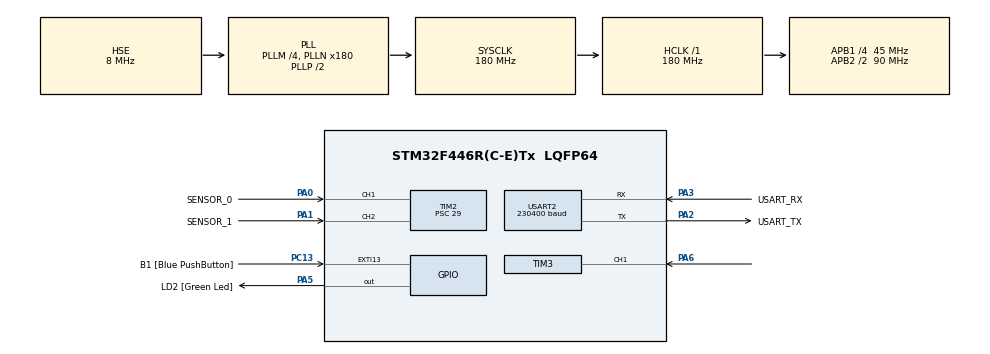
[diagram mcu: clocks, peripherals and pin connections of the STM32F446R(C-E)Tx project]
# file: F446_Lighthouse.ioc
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IWDG.Prescaler=IWDG_PRESCALER_32
IWDG.Reload=1000
Mcu.Family=STM32F4
Mcu.Name=STM32F446R(C-E)Tx
Mcu.Package=LQFP64
NVIC.PriorityGroup=NVIC_PRIORITYGROUP_4
NVIC.TIM2_IRQn=true\:5\:0\:true\:false\:false\:true
NVIC.TIM3_IRQn=true\:6\:0\:true\:false\:false\:true
NVIC.USART2_IRQn=true\:15\:0\:true\:false\:false\:true
PA0-WKUP.GPIO_Label=SENSOR_0
PA0-WKUP.GPIO_PuPd=GPIO_PULLUP
PA0-WKUP.GPIO_Speed=GPIO_SPEED_FREQ_VERY_HIGH
PA0-WKUP.Signal=S_TIM2_CH1_ETR
PA1.GPIO_Label=SENSOR_1
PA1.GPIO_PuPd=GPIO_PULLUP
PA1.GPIO_Speed=GPIO_SPEED_FREQ_VERY_HIGH
PA1.Signal=S_TIM2_CH2
PA13.GPIO_Label=TMS
PA13.Mode=Trace_Asynchronous_SW
PA13.Signal=SYS_JTMS-SWDIO
PA14.GPIO_Label=TCK
PA14.Mode=Trace_Asynchronous_SW
PA14.Signal=SYS_JTCK-SWCLK
PA2.GPIO_Label=USART_TX
PA2.Mode=Asynchronous
PA2.Signal=USART2_TX
PA3.GPIO_Label=USART_RX
PA3.Mode=Asynchronous
PA3.Signal=USART2_RX
PA5.GPIO_Label=LD2 [Green Led]
PA5.Signal=GPIO_Output
PA6.GPIO_PuPd=GPIO_PULLUP
PA6.GPIO_Speed=GPIO_SPEED_FREQ_VERY_HIGH
PA6.Signal=S_TIM3_CH1
PB3.GPIO_Label=SWO
PB3.Mode=Trace_Asynchronous_SW
PB3.Signal=SYS_JTDO-SWO
PC13.GPIO_Label=B1 [Blue PushButton]
PC13.GPIO_ModeDefaultEXTI=GPIO_MODE_IT_FALLING
PC13.Signal=GPXTI13
PC14-OSC32_IN.Mode=LSE-External-Oscillator
PC14-OSC32_IN.Signal=RCC_OSC32_IN
PC15-OSC32_OUT.Mode=LSE-External-Oscillator
PC15-OSC32_OUT.Signal=RCC_OSC32_OUT
PH0-OSC_IN.Mode=HSE-External-Clock-Source
PH0-OSC_IN.Signal=RCC_OSC_IN
PH1-OSC_OUT.Mode=HSE-External-Clock-Source
PH1-OSC_OUT.Signal=RCC_OSC_OUT
ProjectManager.HeapSize=0x200
ProjectManager.StackSize=0x400
ProjectManager.TargetToolchain=TrueSTUDIO
RCC.48MHZClocksFreq_Value=84000000
RCC.AHBFreq_Value=180000000
RCC.APB1CLKDivider=RCC_HCLK_DIV4
RCC.APB1Freq_Value=45000000
RCC.APB1TimFreq_Value=90000000
RCC.APB2CLKDivider=RCC_HCLK_DIV2
RCC.APB2Freq_Value=90000000
RCC.APB2TimFreq_Value=180000000
RCC.CortexFreq_Value=180000000
RCC.FLatency-AdvancedSettings=FLASH_LATENCY_5
RCC.HCLKFreq_Value=180000000
RCC.HSE_VALUE=8000000
RCC.HSI_VALUE=16000000
RCC.PLLM=4
RCC.PLLN=180
RCC.PLLSourceVirtual=RCC_PLLSOURCE_HSE
RCC.SYSCLKFreq_VALUE=180000000
RCC.SYSCLKSource=RCC_SYSCLKSOURCE_PLLCLK
RCC.USBFreq_Value=180000000
RCC.VCOOutputFreq_Value=360000000
SH.S_TIM2_CH1_ETR.0=TIM2_CH1,Input_Capture1_from_TI1
SH.S_TIM2_CH2.0=TIM2_CH2,Input_Capture2_from_TI2
SH.S_TIM3_CH1.0=TIM3_CH1,Input_Capture1_from_TI1
TIM2.Channel-Input_Capture1_from_TI1=TIM_CHANNEL_1
TIM2.Channel-Input_Capture2_from_TI2=TIM_CHANNEL_2
TIM2.ICFilter_CH1=15
TIM2.ICFilter_CH2=15
TIM2.ICPolarity_CH1=TIM_INPUTCHANNELPOLARITY_BOTHEDGE
TIM2.ICPolarity_CH2=TIM_INPUTCHANNELPOLARITY_BOTHEDGE
TIM2.Period=0xFFFF
TIM2.Prescaler=29
TIM3.Channel-Input_Capture1_from_TI1=TIM_CHANNEL_1
TIM3.ICFilter_CH1=15
TIM3.ICPolarity_CH1=TIM_INPUTCHANNELPOLARITY_BOTHEDGE
TIM3.Period=0xffff
TIM3.Prescaler=29
USART2.BaudRate=230400
USART2.VirtualMode=VM_ASYNC
VP_IWDG_VS_IWDG.Mode=IWDG_Activate
VP_TIM2_VS_ClockSourceINT.Mode=Internal
VP_TIM3_VS_ClockSourceINT.Mode=Internal
board=NUCLEO-F446RE

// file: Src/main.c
/**
 ******************************************************************************
 * @file           : main.c
 * @brief          : Main program body
 ******************************************************************************
 ** This notice applies to any and all portions of this file
 * that are not between comment pairs USER CODE BEGIN and
 * USER CODE END. Other portions of this file, whether
 * inserted by the user or by software development tools
 * are owned by their respective copyright owners.
 *
 * COPYRIGHT(c) 2019 STMicroelectronics
 *
 * Redistribution and use in source and binary forms, with or without modification,
 * are permitted provided that the following conditions are met:
 *   1. Redistributions of source code must retain the above copyright notice,
 *      this list of conditions and the following disclaimer.
 *   2. Redistributions in binary form must reproduce the above copyright notice,
 *      this list of conditions and the following disclaimer in the documentation
 *      and/or other materials provided with the distribution.
 *   3. Neither the name of STMicroelectronics nor the names of its contributors
 *      may be used to endorse or promote products derived from this software
 *      without specific prior written permission.
 *
 * THIS SOFTWARE IS PROVIDED BY THE COPYRIGHT HOLDERS AND CONTRIBUTORS "AS IS"
 * AND ANY EXPRESS OR IMPLIED WARRANTIES, INCLUDING, BUT NOT LIMITED TO, THE
 * IMPLIED WARRANTIES OF MERCHANTABILITY AND FITNESS FOR A PARTICULAR PURPOSE ARE
 * DISCLAIMED. IN NO EVENT SHALL THE COPYRIGHT HOLDER OR CONTRIBUTORS BE LIABLE
 * FOR ANY DIRECT, INDIRECT, INCIDENTAL, SPECIAL, EXEMPLARY, OR CONSEQUENTIAL
 * DAMAGES (INCLUDING, BUT NOT LIMITED TO, PROCUREMENT OF SUBSTITUTE GOODS OR
 * SERVICES; LOSS OF USE, DATA, OR PROFITS; OR BUSINESS INTERRUPTION) HOWEVER
 * CAUSED AND ON ANY THEORY OF LIABILITY, WHETHER IN CONTRACT, STRICT LIABILITY,
 * OR TORT (INCLUDING NEGLIGENCE OR OTHERWISE) ARISING IN ANY WAY OUT OF THE USE
 * OF THIS SOFTWARE, EVEN IF ADVISED OF THE POSSIBILITY OF SUCH DAMAGE.
 *
 ******************************************************************************
 */
#include "main.h"
#include "stm32f4xx_hal.h"

/* USER CODE BEGIN Includes */
#include <string.h>
#include <stdbool.h>
#include <math.h>
#include "stm_hal_serial.h"
/* USER CODE END Includes */

IWDG_HandleTypeDef hiwdg;

TIM_HandleTypeDef htim2;
TIM_HandleTypeDef htim3;

UART_HandleTypeDef huart2;

/* USER CODE BEGIN PV */
/* Private variables ---------------------------------------------------------*/
/* TODO Global Variables*/
#define DEBUG				1
#if DEBUG

#define UART_BUFSIZE	RING_BUFFER_SIZE
Ring_Buffer_t tx2Buffer = { { 0 }, 0, 0 };
Ring_Buffer_t rx2Buffer = { { 0 }, 0, 0 };
TSerial debug = { &rx2Buffer, &tx2Buffer, &huart2 };
char buf[UART_BUFSIZE];
uint16_t bufLen;
char vt100_home[10];
#define DEBUG_LINE_MAX		25
char vt100_lineX[DEBUG_LINE_MAX][16];

#endif	//if DEBUG

#define bitRead(value, bit) (((value) >> (bit)) & 0x01)
#define bitSet(value, bit) ((value) |= (1UL << (bit)))
#define bitClear(value, bit) ((value) &= ~(1UL << (bit)))
#define bitWrite(value, bit, bitvalue) (bitvalue ? bitSet(value, bit) : bitClear(value, bit))

const uint16_t pulse_data_max = 165;
const uint16_t pulse_midpoints[8] = { 187, 219, 250, 281, 312, 345, 375, 405 };
const uint16_t pulse_margin = 12;
//const uint16_t pulse_data_max = 55;
//const uint16_t pulse_midpoints[8] = { 62, 73, 83, 94, 104, 115, 125, 135 };
//const uint16_t pulse_margin = 4;

#define PULSE_BUFSIZE			100

typedef enum
{
	PULSE_RISE = 0,
	PULSE_FALL = 1
} PulseType;

typedef struct
{
	volatile uint16_t timestamp[PULSE_BUFSIZE];
	volatile uint16_t head;
	volatile uint16_t tail;
} Pulse_Buffer_t;

#define ST_SWEEP_START_BIT			0
#define ST_SWEEP_SKIP_SYNC_BIT		1
#define ST_SWEEP_NSKIP_SYNC_BIT		2
#define ST_SWEEP_GOT_DATA_BIT		3

typedef struct
{
	uint8_t instance;
	uint8_t id_tem;
	Pulse_Buffer_t pulse;
	float angles[4];
	uint8_t state;
	uint16_t startNskipPulse;
	uint16_t startDataPulse;
} Sensor_t;
Sensor_t sensorL[4];

#define OOTX_BUFSIZE		256

typedef struct
{
	uint8_t waiting_for_preamble;
	uint8_t waiting_for_length;
	uint32_t accumulator;
	uint16_t accumulator_bits;
	uint16_t rx_bytes;
	uint16_t padding;
} Lighthouse_OOTX_Private_t;

typedef struct
{
	uint8_t completed;
	uint16_t length;
	uint8_t bytes[OOTX_BUFSIZE];
	Lighthouse_OOTX_Private_t private;
} Lighthouse_OOTX_t;
Lighthouse_OOTX_t ootx[4];

uint32_t ootx_reset_counter = 0;
uint32_t ootx_error_counter = 0;
uint32_t ootx_preamble_counter = 0;
uint32_t ootx_add_word_counter = 0;
uint32_t pulse_invalid_counter = 0;

/* USER CODE END PV */

void SystemClock_Config(void);
static void MX_GPIO_Init(void);
static void MX_USART2_UART_Init(void);
static void MX_TIM2_Init(void);
static void MX_IWDG_Init(void);
static void MX_TIM3_Init(void);

/* USER CODE BEGIN PFP */
/* Private function prototypes -----------------------------------------------*/
/* TODO Function Prototypes*/
static uint16_t findPulseLength(uint16_t start, uint16_t end);
//static float findAngle(uint16_t nskip, uint16_t start, uint16_t end);
static bool findAngle(uint16_t nskip, uint16_t start, uint16_t end, float *angle);
static void sensor_init();
static void sensorProcessing(Sensor_t *sensor);
static void sensorHandler();

static void pulse_init(Pulse_Buffer_t *buffer);
static void pulse_write_rise(Pulse_Buffer_t *buffer, uint16_t time);
static void pulse_write_fall(Pulse_Buffer_t *buffer, uint16_t time);
static bool pulse_buffer_available(Pulse_Buffer_t *buffer);
static bool pulse_read(Pulse_Buffer_t *buffer, uint16_t *rise, uint16_t *fall);

static void ootx_init(Lighthouse_OOTX_t *ootx);
static void ootx_reset(Lighthouse_OOTX_Private_t *ootxPrivate);
static void ootx_add_bit(Lighthouse_OOTX_t *ootx, uint8_t bit);
static void ootx_add_word(Lighthouse_OOTX_t *ootx, uint16_t word);

/* USER CODE END PFP */

int main(void)
{
	/* USER CODE BEGIN 1 */
	sprintf(vt100_home, "\x1b[2J\x1b[H");
	unsigned char debugLine = 0;
	for ( debugLine = 0; debugLine < DEBUG_LINE_MAX; debugLine++ )
		sprintf(vt100_lineX[debugLine], "\x1b[%d;0H\x1b[2K", debugLine);

	/* USER CODE END 1 */

	/* MCU Configuration----------------------------------------------------------*/

	/* Reset of all peripherals, Initializes the Flash interface and the Systick. */
	HAL_Init();

	/* Configure the system clock */
	SystemClock_Config();

	/* Initialize all configured peripherals */
	MX_GPIO_Init();
	MX_USART2_UART_Init();
	MX_TIM2_Init();
	MX_IWDG_Init();
	MX_TIM3_Init();
	/* USER CODE BEGIN 2 */
	/* TODO Initialization*/
	HAL_IWDG_Init(&hiwdg);
	HAL_IWDG_Refresh(&hiwdg);

	bufLen = sprintf(buf, "%sF446 Lighthouse Firmware!\r\n=========================\r\n",
			vt100_home);
	serial_write_str(&debug, buf, bufLen);

	serial_init(&debug);
	HAL_Delay(500);
	HAL_IWDG_Refresh(&hiwdg);
	HAL_GPIO_WritePin(LD2_GPIO_Port, LD2_Pin, GPIO_PIN_SET);

	serial_init(&debug);

	sensor_init();
	ootx_reset_counter = 0;
	HAL_TIM_IC_Start_IT(&htim2, TIM_CHANNEL_1);
	HAL_TIM_IC_Start_IT(&htim3, TIM_CHANNEL_1);

	/* USER CODE END 2 */

	/* Infinite loop */
	/* USER CODE BEGIN WHILE */
	/* TODO Loop Variables*/

	uint32_t millis = 0;
	uint32_t timer = 0;
	uint32_t displayTimer = 0;

	uint16_t ootxCounter = 0;

	while (1) {
		float s[4][4];
		uint8_t i, j;

		millis = HAL_GetTick();
		HAL_IWDG_Refresh(&hiwdg);

		/* USER CODE END WHILE */

		/* USER CODE BEGIN 3 */
		/* TODO Begin LOOP*/
		if (millis >= timer) {
			timer = millis + 1000;

			if (HAL_GPIO_ReadPin(LD2_GPIO_Port, LD2_Pin) == GPIO_PIN_RESET)
				HAL_GPIO_WritePin(LD2_GPIO_Port, LD2_Pin, GPIO_PIN_SET);
			else
				HAL_GPIO_WritePin(LD2_GPIO_Port, LD2_Pin, GPIO_PIN_RESET);
		}

		sensorHandler();
		if (millis >= displayTimer) {
			displayTimer = millis + 100;

			for ( i = 0; i < 4; i++ ) {
				for ( j = 0; j < 4; j++ )
					s[i][j] = sensorL[i].angles[j];
			}

			bufLen = sprintf(buf, "%slivetime= %d", vt100_lineX[3], (int) (millis / 1000));
			serial_write_str(&debug, buf, bufLen);

			bufLen = sprintf(buf, "%ssensor0:%s%.3f\t%.3f\t%.3f\t%.3f", vt100_lineX[5],
					vt100_lineX[6], s[0][0], s[0][1], s[0][2], s[0][3]);
			serial_write_str(&debug, buf, bufLen);
			bufLen = sprintf(buf, "%ssensor1:%s%.3f\t%.3f\t%.3f\t%.3f", vt100_lineX[7],
					vt100_lineX[8], s[1][0], s[1][1], s[1][2], s[1][3]);
			serial_write_str(&debug, buf, bufLen);
//			bufLen = sprintf(buf, "%ssensor2:%s%.3f\t%.3f\t%.3f\t%.3f", vt100_lineX[9],
//					vt100_lineX[10], s[2][0], s[2][1], s[2][2], s[2][3]);
//			serial_write_str(&debug, buf, bufLen);
//			bufLen = sprintf(buf, "%ssensor3:%s%.3f\t%.3f\t%.3f\t%.3f", vt100_lineX[11],
//					vt100_lineX[12], s[3][0], s[3][1], s[3][2], s[3][3]);
//			serial_write_str(&debug, buf, bufLen);

			bufLen = sprintf(buf, "%sDebug:%spulseInvalid= %d\tpreamble= %d | %d | %d",
					vt100_lineX[15], vt100_lineX[16], (int) pulse_invalid_counter,
					(int) ootx_preamble_counter, (int) ootx_reset_counter,
					(int) ootx_add_word_counter);
			serial_write_str(&debug, buf, bufLen);
			bufLen = sprintf(buf, "%s%d\t%X", vt100_lineX[17],
					(int) ootx[1].private.accumulator_bits, (int) ootx[1].private.accumulator);
			serial_write_str(&debug, buf, bufLen);

			bufLen = sprintf(buf, "%s", vt100_lineX[22]);
			serial_write_str(&debug, buf, bufLen);

			for ( int i = 0; i < 38; i++ ) {
				if (i % 16 == 15)
					bufLen = sprintf(buf, "%02X-%02X\r\n", i, ootx[1].bytes[i]);
				else
					bufLen = sprintf(buf, "%02X-%02X ", i, ootx[1].bytes[i]);
				serial_write_str(&debug, buf, bufLen);
			}

		}

		if (ootx[1].completed > 0) {
			bufLen = sprintf(buf, "%sootx counter= %d", vt100_lineX[18], ootxCounter++);
			serial_write_str(&debug, buf, bufLen);

			ootx[1].completed = 0;
		}
		/* TODO END LOOP*/
	}
	/* USER CODE END 3 */

}

void SystemClock_Config(void)
{

	RCC_OscInitTypeDef RCC_OscInitStruct;
	RCC_ClkInitTypeDef RCC_ClkInitStruct;

	/**Configure the main internal regulator output voltage
	 */
	__HAL_RCC_PWR_CLK_ENABLE()
	;

	__HAL_PWR_VOLTAGESCALING_CONFIG(PWR_REGULATOR_VOLTAGE_SCALE1);

	/**Initializes the CPU, AHB and APB busses clocks
	 */
	RCC_OscInitStruct.OscillatorType = RCC_OSCILLATORTYPE_LSI | RCC_OSCILLATORTYPE_HSE;
	RCC_OscInitStruct.HSEState = RCC_HSE_BYPASS;
	RCC_OscInitStruct.LSIState = RCC_LSI_ON;
	RCC_OscInitStruct.PLL.PLLState = RCC_PLL_ON;
	RCC_OscInitStruct.PLL.PLLSource = RCC_PLLSOURCE_HSE;
	RCC_OscInitStruct.PLL.PLLM = 4;
	RCC_OscInitStruct.PLL.PLLN = 180;
	RCC_OscInitStruct.PLL.PLLP = RCC_PLLP_DIV2;
	RCC_OscInitStruct.PLL.PLLQ = 2;
	RCC_OscInitStruct.PLL.PLLR = 2;
	if (HAL_RCC_OscConfig(&RCC_OscInitStruct) != HAL_OK) {
		_Error_Handler(__FILE__, __LINE__);
	}

	/**Activate the Over-Drive mode
	 */
	if (HAL_PWREx_EnableOverDrive() != HAL_OK) {
		_Error_Handler(__FILE__, __LINE__);
	}

	/**Initializes the CPU, AHB and APB busses clocks
	 */
	RCC_ClkInitStruct.ClockType = RCC_CLOCKTYPE_HCLK | RCC_CLOCKTYPE_SYSCLK | RCC_CLOCKTYPE_PCLK1
			| RCC_CLOCKTYPE_PCLK2;
	RCC_ClkInitStruct.SYSCLKSource = RCC_SYSCLKSOURCE_PLLCLK;
	RCC_ClkInitStruct.AHBCLKDivider = RCC_SYSCLK_DIV1;
	RCC_ClkInitStruct.APB1CLKDivider = RCC_HCLK_DIV4;
	RCC_ClkInitStruct.APB2CLKDivider = RCC_HCLK_DIV2;

	if (HAL_RCC_ClockConfig(&RCC_ClkInitStruct, FLASH_LATENCY_5) != HAL_OK) {
		_Error_Handler(__FILE__, __LINE__);
	}

	/**Configure the Systick interrupt time
	 */
	HAL_SYSTICK_Config(HAL_RCC_GetHCLKFreq() / 1000);

	/**Configure the Systick
	 */
	HAL_SYSTICK_CLKSourceConfig(SYSTICK_CLKSOURCE_HCLK);

	/* SysTick_IRQn interrupt configuration */
	HAL_NVIC_SetPriority(SysTick_IRQn, 0, 0);
}

/* IWDG init function */
static void MX_IWDG_Init(void)
{

	hiwdg.Instance = IWDG;
	hiwdg.Init.Prescaler = IWDG_PRESCALER_32;
	hiwdg.Init.Reload = 1000;
	if (HAL_IWDG_Init(&hiwdg) != HAL_OK) {
		_Error_Handler(__FILE__, __LINE__);
	}

}

/* TIM2 init function */
static void MX_TIM2_Init(void)
{

	TIM_ClockConfigTypeDef sClockSourceConfig;
	TIM_MasterConfigTypeDef sMasterConfig;
	TIM_IC_InitTypeDef sConfigIC;

	htim2.Instance = TIM2;
	htim2.Init.Prescaler = 29;
	htim2.Init.CounterMode = TIM_COUNTERMODE_UP;
	htim2.Init.Period = 0xFFFF;
	htim2.Init.ClockDivision = TIM_CLOCKDIVISION_DIV1;
	if (HAL_TIM_Base_Init(&htim2) != HAL_OK) {
		_Error_Handler(__FILE__, __LINE__);
	}

	sClockSourceConfig.ClockSource = TIM_CLOCKSOURCE_INTERNAL;
	if (HAL_TIM_ConfigClockSource(&htim2, &sClockSourceConfig) != HAL_OK) {
		_Error_Handler(__FILE__, __LINE__);
	}

	if (HAL_TIM_IC_Init(&htim2) != HAL_OK) {
		_Error_Handler(__FILE__, __LINE__);
	}

	sMasterConfig.MasterOutputTrigger = TIM_TRGO_RESET;
	sMasterConfig.MasterSlaveMode = TIM_MASTERSLAVEMODE_DISABLE;
	if (HAL_TIMEx_MasterConfigSynchronization(&htim2, &sMasterConfig) != HAL_OK) {
		_Error_Handler(__FILE__, __LINE__);
	}

	sConfigIC.ICPolarity = TIM_INPUTCHANNELPOLARITY_BOTHEDGE;
	sConfigIC.ICSelection = TIM_ICSELECTION_DIRECTTI;
	sConfigIC.ICPrescaler = TIM_ICPSC_DIV1;
	sConfigIC.ICFilter = 15;
	if (HAL_TIM_IC_ConfigChannel(&htim2, &sConfigIC, TIM_CHANNEL_1) != HAL_OK) {
		_Error_Handler(__FILE__, __LINE__);
	}

	if (HAL_TIM_IC_ConfigChannel(&htim2, &sConfigIC, TIM_CHANNEL_2) != HAL_OK) {
		_Error_Handler(__FILE__, __LINE__);
	}

}

/* TIM3 init function */
static void MX_TIM3_Init(void)
{

	TIM_ClockConfigTypeDef sClockSourceConfig;
	TIM_MasterConfigTypeDef sMasterConfig;
	TIM_IC_InitTypeDef sConfigIC;

	htim3.Instance = TIM3;
	htim3.Init.Prescaler = 29;
	htim3.Init.CounterMode = TIM_COUNTERMODE_UP;
	htim3.Init.Period = 0xffff;
	htim3.Init.ClockDivision = TIM_CLOCKDIVISION_DIV1;
	if (HAL_TIM_Base_Init(&htim3) != HAL_OK) {
		_Error_Handler(__FILE__, __LINE__);
	}

	sClockSourceConfig.ClockSource = TIM_CLOCKSOURCE_INTERNAL;
	if (HAL_TIM_ConfigClockSource(&htim3, &sClockSourceConfig) != HAL_OK) {
		_Error_Handler(__FILE__, __LINE__);
	}

	if (HAL_TIM_IC_Init(&htim3) != HAL_OK) {
		_Error_Handler(__FILE__, __LINE__);
	}

	sMasterConfig.MasterOutputTrigger = TIM_TRGO_RESET;
	sMasterConfig.MasterSlaveMode = TIM_MASTERSLAVEMODE_DISABLE;
	if (HAL_TIMEx_MasterConfigSynchronization(&htim3, &sMasterConfig) != HAL_OK) {
		_Error_Handler(__FILE__, __LINE__);
	}

	sConfigIC.ICPolarity = TIM_INPUTCHANNELPOLARITY_BOTHEDGE;
	sConfigIC.ICSelection = TIM_ICSELECTION_DIRECTTI;
	sConfigIC.ICPrescaler = TIM_ICPSC_DIV1;
	sConfigIC.ICFilter = 15;
	if (HAL_TIM_IC_ConfigChannel(&htim3, &sConfigIC, TIM_CHANNEL_1) != HAL_OK) {
		_Error_Handler(__FILE__, __LINE__);
	}

}

/* USART2 init function */
static void MX_USART2_UART_Init(void)
{

	huart2.Instance = USART2;
	huart2.Init.BaudRate = 230400;
	huart2.Init.WordLength = UART_WORDLENGTH_8B;
	huart2.Init.StopBits = UART_STOPBITS_1;
	huart2.Init.Parity = UART_PARITY_NONE;
	huart2.Init.Mode = UART_MODE_TX_RX;
	huart2.Init.HwFlowCtl = UART_HWCONTROL_NONE;
	huart2.Init.OverSampling = UART_OVERSAMPLING_16;
	if (HAL_UART_Init(&huart2) != HAL_OK) {
		_Error_Handler(__FILE__, __LINE__);
	}

}

/** Configure pins as
 * Analog
 * Input
 * Output
 * EVENT_OUT
 * EXTI
 * Free pins are configured automatically as Analog (this feature is enabled through
 * the Code Generation settings)
 */
static void MX_GPIO_Init(void)
{

	GPIO_InitTypeDef GPIO_InitStruct;

	/* GPIO Ports Clock Enable */
	__HAL_RCC_GPIOC_CLK_ENABLE()
	;
	__HAL_RCC_GPIOH_CLK_ENABLE()
	;
	__HAL_RCC_GPIOA_CLK_ENABLE()
	;
	__HAL_RCC_GPIOB_CLK_ENABLE()
	;
	__HAL_RCC_GPIOD_CLK_ENABLE()
	;

	/*Configure GPIO pin Output Level */
	HAL_GPIO_WritePin(LD2_GPIO_Port, LD2_Pin, GPIO_PIN_RESET);

	/*Configure GPIO pin : B1_Pin */
	GPIO_InitStruct.Pin = B1_Pin;
	GPIO_InitStruct.Mode = GPIO_MODE_IT_FALLING;
	GPIO_InitStruct.Pull = GPIO_NOPULL;
	HAL_GPIO_Init(B1_GPIO_Port, &GPIO_InitStruct);

	/*Configure GPIO pins : PC0 PC1 PC2 PC3
	 PC4 PC5 PC6 PC7
	 PC8 PC9 PC10 PC11
	 PC12 */
	GPIO_InitStruct.Pin = GPIO_PIN_0 | GPIO_PIN_1 | GPIO_PIN_2 | GPIO_PIN_3 | GPIO_PIN_4
			| GPIO_PIN_5 | GPIO_PIN_6 | GPIO_PIN_7 | GPIO_PIN_8 | GPIO_PIN_9 | GPIO_PIN_10
			| GPIO_PIN_11 | GPIO_PIN_12;
	GPIO_InitStruct.Mode = GPIO_MODE_ANALOG;
	GPIO_InitStruct.Pull = GPIO_NOPULL;
	HAL_GPIO_Init(GPIOC, &GPIO_InitStruct);

	/*Configure GPIO pins : PA4 PA7 PA8 PA9
	 PA10 PA11 PA12 PA15 */
	GPIO_InitStruct.Pin = GPIO_PIN_4 | GPIO_PIN_7 | GPIO_PIN_8 | GPIO_PIN_9 | GPIO_PIN_10
			| GPIO_PIN_11 | GPIO_PIN_12 | GPIO_PIN_15;
	GPIO_InitStruct.Mode = GPIO_MODE_ANALOG;
	GPIO_InitStruct.Pull = GPIO_NOPULL;
	HAL_GPIO_Init(GPIOA, &GPIO_InitStruct);

	/*Configure GPIO pin : LD2_Pin */
	GPIO_InitStruct.Pin = LD2_Pin;
	GPIO_InitStruct.Mode = GPIO_MODE_OUTPUT_PP;
	GPIO_InitStruct.Pull = GPIO_NOPULL;
	GPIO_InitStruct.Speed = GPIO_SPEED_FREQ_LOW;
	HAL_GPIO_Init(LD2_GPIO_Port, &GPIO_InitStruct);

	/*Configure GPIO pins : PB0 PB1 PB2 PB10
	 PB12 PB13 PB14 PB15
	 PB4 PB5 PB6 PB7
	 PB8 PB9 */
	GPIO_InitStruct.Pin = GPIO_PIN_0 | GPIO_PIN_1 | GPIO_PIN_2 | GPIO_PIN_10 | GPIO_PIN_12
			| GPIO_PIN_13 | GPIO_PIN_14 | GPIO_PIN_15 | GPIO_PIN_4 | GPIO_PIN_5 | GPIO_PIN_6
			| GPIO_PIN_7 | GPIO_PIN_8 | GPIO_PIN_9;
	GPIO_InitStruct.Mode = GPIO_MODE_ANALOG;
	GPIO_InitStruct.Pull = GPIO_NOPULL;
	HAL_GPIO_Init(GPIOB, &GPIO_InitStruct);

	/*Configure GPIO pin : PD2 */
	GPIO_InitStruct.Pin = GPIO_PIN_2;
	GPIO_InitStruct.Mode = GPIO_MODE_ANALOG;
	GPIO_InitStruct.Pull = GPIO_NOPULL;
	HAL_GPIO_Init(GPIOD, &GPIO_InitStruct);

}

/* USER CODE BEGIN 4 */
/* TODO Function Declarations*/
void USART2_IRQHandler(void)
{
	USARTx_IRQHandler(&debug);
}

static uint16_t findPulseLength(uint16_t start, uint16_t end)
{
	uint16_t ret = 0;
	if (end >= start)
		ret = end - start;
	else
		ret = 0xFFFF - start + end;

	return ret;
}

static bool findAngle(uint16_t nskip, uint16_t start, uint16_t end, float *angle)
{
	uint16_t _pulseStart = 0, _pulseEnd = 0;
	float _pulseMid = 0.0f;
	float _delta = 0.0f;

	_pulseStart = findPulseLength(nskip, start);
	_pulseEnd = findPulseLength(nskip, end);

	if (_pulseStart >= 25000 || _pulseEnd >= 25000)
		return false;
	_pulseMid = (float) (_pulseStart + _pulseEnd) / 2;

	/* 4000us -> 12000 ticks
	 * 8333us -> 24999 ticks
	 *
	 */
	_delta = _pulseMid - 12000.0;
	if (fabs(_delta) > 12000.0)
		return false;
//	_delta = _pulseMid - 4000.0;
//	if (fabs(_delta) > 4000.0)
//		return false;

//	*angle = _delta * M_PI / 24999.9;
	*angle = _delta * 180.0 / 24999.9;
//	*angle = _delta * 180.0 / 8333;

	return true;
}

static void ootx_init(Lighthouse_OOTX_t *ootx)
{
	ootx_reset(&ootx->private);
	ootx->completed = 0;
	ootx->length = 0;
	memset(ootx->bytes, 0, OOTX_BUFSIZE);
}

static void ootx_reset(Lighthouse_OOTX_Private_t *ootxPrivate)
{
	ootxPrivate->waiting_for_preamble = 1;
	ootxPrivate->waiting_for_length = 1;
	ootxPrivate->accumulator = 0;
	ootxPrivate->accumulator_bits = 0;
	ootxPrivate->rx_bytes = 0;
	ootx_reset_counter++;
	ootx_add_word_counter = 0;
}

static void ootx_add_bit(Lighthouse_OOTX_t *ootx, uint8_t bit)
{
	Lighthouse_OOTX_Private_t *oPrivate = &ootx->private;

	bit &= 0b1;

	/* add this bit to our incoming word */
	oPrivate->accumulator = (oPrivate->accumulator << 1) | bit;
	oPrivate->accumulator_bits++;

	if (oPrivate->waiting_for_preamble) {
		/* 17 zeros, followed by a 1 == 18 bits */
		if (oPrivate->accumulator_bits != 18)
			return;

		/* received preamble, start on data */
		if (oPrivate->accumulator == 0b1) {
			ootx_preamble_counter++;
			/* first we'll need the length */
			oPrivate->waiting_for_preamble = 0;
			oPrivate->waiting_for_length = 1;
			oPrivate->accumulator = 0;
			oPrivate->accumulator_bits = 0;
			return;
		}
		/* we've received 18 bits worth of preamble
		 * but it isnt a valid thing. hold onto the
		 * last 17 bits worth of data
		 */
		oPrivate->accumulator_bits--;
		oPrivate->accumulator &= 0x1FFFF;
		return;
	}

	/* we're receiving data!  accumulate until we get a sync bit */
	if (oPrivate->accumulator_bits < 17)
		return;

	if ((oPrivate->accumulator & 0b1) == 0) {
		/* no sync bit. go back into waiting for preamble mode */
//		if (oPrivate->rx_bytes >= 38) {
//			uint16_t fw_version = ((uint16_t) ootx->bytes[1] << 8) | ootx->bytes[0];
//
//			bufLen = sprintf(buf, "%sfirmware= 0x%X %d | %d\t%d", vt100_lineX[21], fw_version,
//					fw_version >> 5, fw_version & 0x1f, ootx->private.rx_bytes);
////			bufLen = sprintf(buf, "%s%X %X %X %X %X %X %X %X %X %X %X %X %X %X %X %X %X %X %X %X",
////					vt100_lineX[21], ootx->bytes[0], ootx->bytes[1], ootx->bytes[2], ootx->bytes[3],
////					ootx->bytes[4], ootx->bytes[5], ootx->bytes[6], ootx->bytes[7], ootx->bytes[8],
////					ootx->bytes[9], ootx->bytes[10], ootx->bytes[11], ootx->bytes[12], ootx->bytes[13],
////					ootx->bytes[14], ootx->bytes[15], ootx->bytes[16], ootx->bytes[17], ootx->bytes[18],
////					ootx->bytes[19]);
//			serial_write_str(&debug, buf, bufLen);
//		}
		ootx_reset(&ootx->private);
		return;
	}

	/* hurrah!  the sync bit was set */
	uint16_t _word = (oPrivate->accumulator >> 1);
	oPrivate->accumulator = 0;
	oPrivate->accumulator_bits = 0;

	ootx_add_word(ootx, _word);
	ootx_add_word_counter++;
}

static void ootx_add_word(Lighthouse_OOTX_t *ootx, uint16_t word)
{
	Lighthouse_OOTX_Private_t *oPrivate = &ootx->private;

	if (oPrivate->waiting_for_length) {
		ootx->length = (((word >> 8) & 0xFF) | ((word & 0xFF) << 8)) + 4;
		oPrivate->padding = ootx->length & 1;
		oPrivate->waiting_for_length = 0;
		oPrivate->rx_bytes = 0;

		/* error */
		if (ootx->length > OOTX_BUFSIZE)
			ootx_reset(&ootx->private);
//		if (ootx->length > OOTX_BUFSIZE) {
//			bufLen = sprintf(buf, "%sLenR= %d -> %d", vt100_lineX[20], word, (int) ootx->length);
//			serial_write_str(&debug, buf, bufLen);
//
//			ootx_reset(&ootx->private);
//		}
//		else {
//			bufLen = sprintf(buf, "%sLenS= %d -> %d", vt100_lineX[20], word, (int) ootx->length);
//			serial_write_str(&debug, buf, bufLen);
//		}

		return;
	}

	/* little endian; [Byte0][Byte1] */
	ootx->bytes[oPrivate->rx_bytes++] = (word >> 8) & 0xFF;
	ootx->bytes[oPrivate->rx_bytes++] = word & 0xFF;

	if (oPrivate->rx_bytes < ootx->length + oPrivate->padding)
		return;

	/* TODO check CRC32*/

	ootx->completed++;

	/* reset to wait for preamble */
	ootx_reset(&ootx->private);
}

static void pulse_init(Pulse_Buffer_t *buffer)
{
	buffer->head = buffer->tail = 0;
}

static void pulse_write_rise(Pulse_Buffer_t *buffer, uint16_t time)
{
	if (!bitRead(buffer->head, 0)) {
		buffer->timestamp[buffer->head] = time;
		buffer->head = (buffer->head + 1) % PULSE_BUFSIZE;
	}
	/* else, ignore it and wait until we got pulse fall timestamp */
}

static void pulse_write_fall(Pulse_Buffer_t *buffer, uint16_t time)
{
	if (bitRead(buffer->head, 0)) {
		buffer->timestamp[buffer->head] = time;
		buffer->head = (buffer->head + 1) % PULSE_BUFSIZE;
	}
}

static bool pulse_buffer_available(Pulse_Buffer_t *buffer)
{
	uint16_t delta = 0;

	if (buffer->head >= buffer->tail)
		delta = buffer->head - buffer->tail;
	else
		delta = buffer->head + PULSE_BUFSIZE - buffer->tail;

	if (delta > 1)
		return true;

	return false;
}

static bool pulse_read(Pulse_Buffer_t *buffer, uint16_t *rise, uint16_t *fall)
{
	if (pulse_buffer_available(buffer)) {
		if (!bitRead(buffer->tail, 0)) {
			*rise = buffer->timestamp[buffer->tail];
			buffer->tail = (buffer->tail + 1) % PULSE_BUFSIZE;
			*fall = buffer->timestamp[buffer->tail];
			buffer->tail = (buffer->tail + 1) % PULSE_BUFSIZE;

			return true;
		}
	}

	return false;
}

static void sensor_init()
{
	for ( uint8_t i = 0; i < 4; i++ ) {
		sensorL[i].instance = i;
		pulse_init(&sensorL[i].pulse);
		sensorL[i].state = 0;
		ootx_init(&ootx[i]);
		for ( uint8_t j = 0; j < 4; j++ )
			sensorL[i].angles[j] = 0.0f;
	}
}

static void sensorProcessing(Sensor_t *sensor)
{
	/* if there is a new pulse */
	uint16_t _pulseLen = 0;
	uint16_t timeRise = 0, timeFall = 0;
	uint8_t i = 0;
	uint8_t skip = 0, data = 0, axis = 0;
	bool _pulseValid = false;
	float _newAngles = 0.0f;

	if (pulse_read(&sensor->pulse, &timeRise, &timeFall)) {
		_pulseLen = findPulseLength(timeRise, timeFall);

		/* sync pulse detected, hopefully */
		if (_pulseLen > pulse_data_max) {
			/* new sweep and data has been found */
			if (bitRead(sensor->state, ST_SWEEP_GOT_DATA_BIT))
				sensor->state = 0;

			/* find type of sync pulse */
			for ( i = 0; i < 8; i++ ) {
				if ((_pulseLen >= pulse_midpoints[i] - pulse_margin)
						&& (_pulseLen <= pulse_midpoints[i] + pulse_margin)) {
					skip = (i >> 2) & 1;
					data = (i >> 1) & 1;
					axis = i & 1;
					_pulseValid = true;
					break;
				}
			}

			/* sync pulse detected */
			if (_pulseValid) {
				/* sync pulse #1 */
				if (bitRead(sensor->state,ST_SWEEP_START_BIT) == 0) {
					if (skip)
						bitSet(sensor->state, ST_SWEEP_SKIP_SYNC_BIT);
					else {
						bitSet(sensor->state, ST_SWEEP_NSKIP_SYNC_BIT);
						sensor->startNskipPulse = timeRise;
						sensor->id_tem = axis;
					}
					bitSet(sensor->state, ST_SWEEP_START_BIT);
				}
				/* sync pulse #2 */
				else {
					/* sync pulse #1 is skip */
					if ((skip == 0) && bitRead(sensor->state, ST_SWEEP_SKIP_SYNC_BIT)) {
						bitSet(sensor->state, ST_SWEEP_NSKIP_SYNC_BIT);
						sensor->startNskipPulse = timeRise;
						sensor->id_tem = axis | 0b10;
						ootx_add_bit(&ootx[sensor->instance], data);
					}
					/* sync pulse #1 is nskip */
					else if ((skip == 1) && bitRead(sensor->state, ST_SWEEP_NSKIP_SYNC_BIT)) {
						bitSet(sensor->state, ST_SWEEP_SKIP_SYNC_BIT);
						ootx_add_bit(&ootx[sensor->instance], data);
					}
					/* sync pulse #2 is invalid */
					else {
						sensor->state = 0;
						ootx_reset(&ootx[sensor->instance].private);
					}
				}
			}	//if (_pulseValid)
			else {
				sensor->state = 0;
				pulse_invalid_counter++;
			}
		}
		/* data pulse detected */
		else {
			/* double sync pulse is already detected */
			if (sensor->state & 0b111) {
				/* if data pulse has not been found yet */
				if (!bitRead(sensor->state, ST_SWEEP_GOT_DATA_BIT)) {
					/* calculate angle */
					if (findAngle(sensor->startNskipPulse, timeRise, timeFall, &_newAngles)) {
//						sensor->angles[sensor->id_tem] = _newAngles;
						sensor->angles[sensor->id_tem] = (sensor->angles[sensor->id_tem] * 0.75)
								+ (_newAngles * 0.25);
						bitSet(sensor->state, ST_SWEEP_GOT_DATA_BIT);
						sensor->startDataPulse = timeRise;
					}

				}
//					/* if data pulse has been found */
//					else
//						sensor->angles[sensor->id_tem] = findAngle(sensor->startNskipPulse,
//								sensor->startDataPulse, timeFall);
			}
		}
	}	//if (pulse_read(&sensor->pulse, &timeRise, &timeFall))

}

static void sensorHandler()
{
	for ( uint8_t i = 0; i < 4; i++ )
		sensorProcessing(&sensorL[i]);
}

void TIM2_IRQHandler(void)
{
	TIM_HandleTypeDef *htim = &htim2;
	uint32_t isrflags = READ_REG(htim->Instance->SR);
	uint16_t _timestamp = htim->Instance->CNT;
	Pulse_Buffer_t *pulseBuffer1 = &sensorL[1].pulse;

	/* Capture compare 1 event */
	if ((isrflags & TIM_FLAG_CC1) != RESET) {
		__HAL_TIM_CLEAR_IT(htim, TIM_IT_CC1);
		/* Input capture event */
		if (HAL_GPIO_ReadPin(SENSOR_0_GPIO_Port, SENSOR_0_Pin) == GPIO_PIN_RESET)
			pulse_write_rise(pulseBuffer1, _timestamp);
		else
			pulse_write_fall(pulseBuffer1, _timestamp);
	}

}

void TIM3_IRQHandler(void)
{
	TIM_HandleTypeDef *htim = &htim3;
	uint32_t isrflags = READ_REG(htim->Instance->SR);
	uint16_t _timestamp = htim->Instance->CNT;
	Pulse_Buffer_t *pulseBuffer0 = &sensorL[0].pulse;

	/* Capture compare 1 event */
	if ((isrflags & TIM_FLAG_CC1) != RESET) {
		__HAL_TIM_CLEAR_IT(htim, TIM_IT_CC1);
		/* Input capture event */
		if (HAL_GPIO_ReadPin(SENSOR_1_GPIO_Port, SENSOR_1_Pin) == GPIO_PIN_RESET)
			pulse_write_rise(pulseBuffer0, _timestamp);
		else
			pulse_write_fall(pulseBuffer0, _timestamp);
	}

}

/* TODO END of Function Declarations*/
/* USER CODE END 4 */

void _Error_Handler(char *file, int line)
{
	while (1) {
	}
}

/************************ (C) COPYRIGHT STMicroelectronics *****END OF FILE****/
